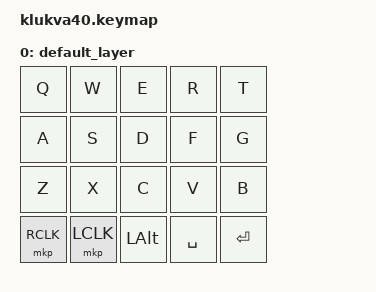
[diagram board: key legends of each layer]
#include <behaviors.dtsi>
#include <dt-bindings/zmk/keys.h>

/ {
    keymap {
        compatible = "zmk,keymap";

        default_layer {
            bindings = <
                &kp  Q    &kp  W    &kp E    &kp R     &kp T
                &kp  A    &kp  S    &kp D    &kp F     &kp G
                &kp  Z    &kp  X    &kp C    &kp V     &kp B
                &mkp RCLK &mkp LCLK &kp LALT &kp SPACE &kp ENTER
            >;
        };
    };
};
